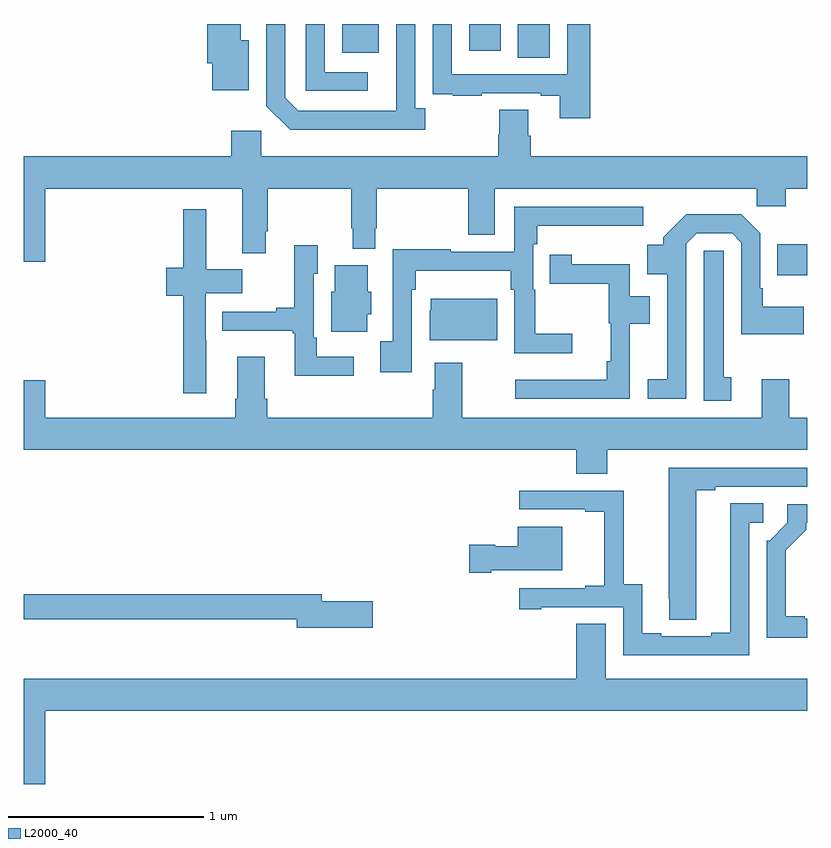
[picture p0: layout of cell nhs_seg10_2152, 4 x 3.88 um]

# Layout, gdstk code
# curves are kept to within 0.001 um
import gdstk
lib = gdstk.Library(unit=1e-6, precision=1e-09)
def R(c, l, rs):  # rectangles x0, y0, x1, y1
    for r in rs: c.add(gdstk.rectangle(r[:2], r[2:], *l))
def P(c, l, *ps):  # polygons
    for p in ps: c.add(gdstk.Polygon(p, *l))
L2000_40 = (2000, 40)

nhs_seg10_2152 = lib.new_cell('nhs_seg10_2152')
R(nhs_seg10_2152, L2000_40, [(228.846,1289.219,229,1289.377), (227.522,1290.328,227.686,1290.5), (226.625,1290.353,226.813,1290.5), (227.273,1290.363,227.434,1290.5)])
P(nhs_seg10_2152, L2000_40, [(227.891,1290.5),(227.775,1290.5),(227.775,1290.243),(227.184,1290.243),(227.184,1290.5),(227.088,1290.5),(227.088,1290.25),(227.089,1290.25),(227.089,1290.141),(227.191,1290.141),(227.191,1290.135),(227.339,1290.135),(227.339,1290.147),(227.639,1290.147),(227.639,1290.135),(227.735,1290.135),(227.735,1290.018),(227.891,1290.018)],
  [(227.05,1290.07),(226.998,1290.07),(226.998,1290.5),(226.902,1290.5),(226.901,1290.057),(226.401,1290.057),(226.335,1290.123),(226.335,1290.5),(226.239,1290.5),(226.239,1290.081),(226.36,1289.96),(227.05,1289.96)],
  [(226.15,1290.418),(226.108,1290.418),(226.108,1290.5),(225.938,1290.5),(225.938,1290.3),(225.962,1290.3),(225.962,1290.161),(226.15,1290.161)],
  [(226.756,1290.255),(226.536,1290.255),(226.536,1290.5),(226.44,1290.5),(226.44,1290.159),(226.756,1290.159)],
  [(225.112,1289.66),(226.115,1289.66),(226.115,1289.331),(226.237,1289.331),(226.237,1289.443),(226.245,1289.443),(226.245,1289.66),(226.672,1289.66),(226.672,1289.458),(226.679,1289.458),(226.679,1289.353),(226.795,1289.353),(226.795,1289.458),(226.803,1289.458),(226.803,1289.66),(227.269,1289.66),(227.269,1289.424),(227.404,1289.424),(227.404,1289.66),(228.742,1289.66),(228.742,1289.57),(228.889,1289.57),(228.889,1289.66),(229,1289.66),(229,1289.824),(227.588,1289.824),(227.588,1289.93),(227.575,1289.93),(227.575,1290.062),(227.428,1290.062),(227.428,1289.937),(227.423,1289.937),(227.423,1289.824),(226.212,1289.824),(226.212,1289.956),(226.061,1289.956),(226.061,1289.824),(225,1289.824),(225,1289.286),(225.112,1289.286)],
  [(226.98,1289.144),(227,1289.144),(227,1289.24),(227.485,1289.24),(227.485,1289.144),(227.505,1289.144),(227.505,1288.82),(227.8,1288.82),(227.8,1288.92),(227.611,1288.92),(227.611,1289.144),(227.601,1289.144),(227.601,1289.375),(227.621,1289.375),(227.621,1289.471),(228.163,1289.471),(228.163,1289.568),(227.505,1289.568),(227.505,1289.337),(227.18,1289.337),(227.18,1289.35),(226.884,1289.35),(226.884,1288.881),(226.821,1288.881),(226.821,1288.722),(226.98,1288.722)],
  [(225.931,1288.883),(225.93,1288.883),(225.93,1289.126),(226.115,1289.126),(226.115,1289.248),(225.932,1289.248),(225.932,1289.554),(225.814,1289.554),(225.814,1289.256),(225.728,1289.256),(225.728,1289.114),(225.814,1289.114),(225.814,1288.617),(225.931,1288.617)],
  [(228.381,1289.379),(228.435,1289.433),(228.615,1289.433),(228.663,1289.385),(228.663,1288.916),(228.982,1288.916),(228.982,1289.056),(228.772,1289.056),(228.772,1289.152),(228.759,1289.152),(228.759,1289.433),(228.662,1289.53),(228.382,1289.53),(228.265,1289.413),(228.265,1289.374),(228.182,1289.374),(228.182,1289.222),(228.285,1289.222),(228.285,1288.688),(228.186,1288.688),(228.186,1288.587),(228.381,1288.587)],
  [(226.684,1288.803),(226.495,1288.803),(226.495,1288.9),(226.482,1288.9),(226.482,1289.226),(226.501,1289.226),(226.501,1289.371),(226.381,1289.371),(226.381,1289.051),(226.289,1289.051),(226.289,1289.031),(226.015,1289.031),(226.015,1288.934),(226.374,1288.934),(226.374,1288.923),(226.385,1288.923),(226.385,1288.706),(226.684,1288.706)],
  [(228.61,1288.698),(228.574,1288.698),(228.574,1289.343),(228.47,1289.343),(228.47,1288.578),(228.61,1288.578)],
  [(228.093,1288.97),(228.196,1288.97),(228.196,1289.11),(228.093,1289.11),(228.093,1289.273),(227.797,1289.273),(227.797,1289.323),(227.686,1289.323),(227.686,1289.174),(227.985,1289.174),(227.985,1288.974),(227.996,1288.974),(227.996,1288.78),(227.977,1288.78),(227.977,1288.684),(227.508,1288.684),(227.508,1288.587),(228.093,1288.587)],
  [(226.755,1289.019),(226.774,1289.019),(226.774,1289.133),(226.756,1289.133),(226.756,1289.268),(226.589,1289.268),(226.589,1289.133),(226.571,1289.133),(226.571,1288.929),(226.755,1288.929)],
  [(227.416,1289.098),(227.078,1289.098),(227.078,1289.04),(227.072,1289.04),(227.072,1288.886),(227.416,1288.886)],
  [(227.099,1288.771),(227.099,1288.634),(227.087,1288.634),(227.087,1288.492),(226.244,1288.492),(226.244,1288.588),(226.231,1288.588),(226.231,1288.801),(226.091,1288.801),(226.091,1288.588),(226.079,1288.588),(226.079,1288.492),(225.112,1288.492),(225.112,1288.681),(225,1288.681),(225,1288.328),(227.819,1288.328),(227.819,1288.204),(227.979,1288.204),(227.979,1288.328),(229,1288.328),(229,1288.492),(228.907,1288.492),(228.907,1288.687),(228.767,1288.687),(228.767,1288.492),(227.239,1288.492),(227.239,1288.771)],
  [(228.433,1288.12),(228.529,1288.12),(228.529,1288.14),(229,1288.14),(229,1288.236),(228.293,1288.236),(228.293,1287.568),(228.294,1287.568),(228.294,1287.46),(228.433,1287.46)],
  [(228.702,1287.954),(228.775,1287.954),(228.775,1288.055),(228.605,1288.055),(228.605,1287.395),(228.509,1287.395),(228.509,1287.375),(228.253,1287.375),(228.253,1287.39),(228.157,1287.39),(228.157,1287.641),(228.063,1287.641),(228.063,1288.119),(227.529,1288.119),(227.529,1288.023),(227.867,1288.023),(227.867,1288.011),(227.963,1288.011),(227.963,1287.634),(227.867,1287.634),(227.867,1287.621),(227.529,1287.621),(227.529,1287.513),(227.641,1287.513),(227.641,1287.525),(228.06,1287.525),(228.06,1287.279),(228.702,1287.279)],
  [(229,1287.465),(228.985,1287.465),(228.985,1287.478),(228.889,1287.478),(228.889,1287.814),(228.994,1287.919),(228.994,1287.954),(229,1287.954),(229,1288.05),(228.897,1288.05),(228.897,1287.954),(228.807,1287.864),(228.792,1287.864),(228.792,1287.368),(229,1287.368)],
  [(227.386,1287.713),(227.749,1287.713),(227.749,1287.934),(227.522,1287.934),(227.522,1287.835),(227.406,1287.835),(227.406,1287.843),(227.274,1287.843),(227.274,1287.701),(227.386,1287.701)],
  [(226.783,1287.554),(226.522,1287.554),(226.522,1287.59),(225,1287.59),(225,1287.462),(226.394,1287.462),(226.394,1287.419),(226.783,1287.419)],
  [(225.112,1286.996),(229,1286.996),(229,1287.16),(227.971,1287.16),(227.971,1287.44),(227.819,1287.44),(227.819,1287.16),(225,1287.16),(225,1286.622),(225.112,1286.622)])

lib.write_gds('nhs_seg10_2152.gds')
